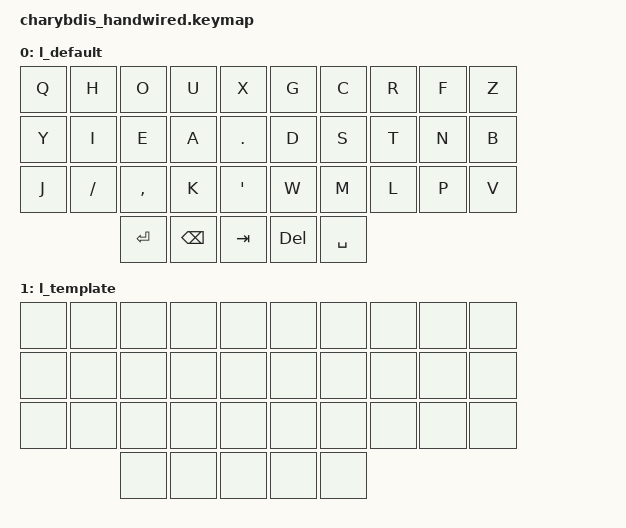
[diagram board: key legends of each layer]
#include <behaviors.dtsi>
#include <dt-bindings/zmk/keys.h>
#include <dt-bindings/zmk/bt.h>

#define L_DEFAULT 0

/ {
        keymap {
                compatible = "zmk,keymap";
                l_default
                {
                        bindings = <
//╭╭─────────────┬─────────────┬─────────────┬─────────────┬─────────────╮ ╭─────────────┬─────────────┬─────────────┬─────────────┬─────────────╮
    &kp Q         &kp H         &kp O         &kp U         &kp X           &kp G         &kp C         &kp R         &kp F         &kp Z
//├├─────────────┼─────────────┼─────────────┼─────────────┼─────────────┤ ├─────────────┼─────────────┼─────────────┼─────────────┼─────────────┤
    &kp Y         &kp I         &kp E         &kp A         &kp PERIOD      &kp D         &kp S         &kp T         &kp N         &kp B
//├├─────────────┼─────────────┼─────────────┼─────────────┼─────────────┤ ├─────────────┼─────────────┼─────────────┼─────────────┼─────────────┤
    &kp J         &kp SLASH     &kp COMMA     &kp K         &kp APOSTROPHE  &kp W         &kp M         &kp L         &kp P         &kp V
//├╰─────────────┼─────────────┼─────────────┼─────────────┼─────────────┤ ├─────────────┼─────────────┼─────────────┴───────────────────────────╯
                                &kp ENTER     &kp BACKSPACE &kp TAB         &kp DELETE    &kp SPACE
//╰                            ╰─────────────┴─────────────┴─────────────╯ ╰─────────────┴─────────────╯
                        >;
                };

                l_template
                {
                        bindings = <
//╭╭─────────────┬─────────────┬─────────────┬─────────────┬─────────────╮ ╭─────────────┬─────────────┬─────────────┬─────────────┬─────────────╮
    &none         &none         &none         &none         &none           &none         &none         &none         &none         &none
//├├─────────────┼─────────────┼─────────────┼─────────────┼─────────────┤ ├─────────────┼─────────────┼─────────────┼─────────────┼─────────────┤
    &none         &none         &none         &none         &none           &none         &none         &none         &none         &none
//├├─────────────┼─────────────┼─────────────┼─────────────┼─────────────┤ ├─────────────┼─────────────┼─────────────┼─────────────┼─────────────┤
    &none         &none         &none         &none         &none           &none         &none         &none         &none         &none
//├╰─────────────┼─────────────┼─────────────┼─────────────┼─────────────┤ ├─────────────┼─────────────┼─────────────┴───────────────────────────╯
                                &none         &none         &none           &none         &none
//╰                            ╰─────────────┴─────────────┴─────────────╯ ╰─────────────┴─────────────╯
                        >;
                };
        };
};

